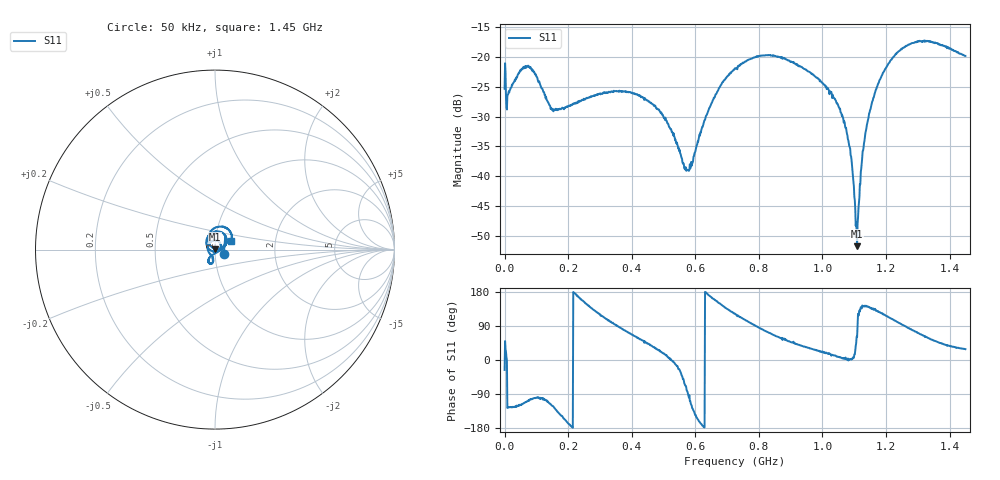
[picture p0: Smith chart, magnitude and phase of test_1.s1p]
! Created with skrf 1.11.0 (http://scikit-rf.org).
# Hz S RI R 50.0
!freq ReS11 ImS11
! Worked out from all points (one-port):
!   1001 points, 50 kHz to 1.45 GHz, reference 50 ohm
!   lowest |S11| = -51.7 dB at 1.109 GHz (marker M1), VSWR 1.01, Z = 50.1 + j0.227 ohm
!   |S11| at or under -10 dB: start of sweep to end of sweep
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50000  0.0486 -0.0239
1.16496e7  -0.0284 -0.0401
4.789835e7  -0.0369 -0.0657
7.54474e7  -0.023 -0.0795
1.46495e8  -0.0178 -0.0328
1.812938e8  -0.0318 -0.02
3.625375e8  0.00411 0.0515
4.683838e8  0.0329 0.0221
5.437812e8  0.0176 -0.00496
5.669804e8  0.00512 -0.0106
5.829299e8  -0.00392 -0.012
6.510776e8  -0.0397 0.0102
7.25025e8  -0.043 0.0681
8.076722e8  0.0146 0.1018
9.062688e8  0.0632 0.0649
1.032414e9  0.0469 0.0111
1.067213e9  0.0281 0.00162
1.087512e9  0.017 0.000821
1.103462e9  0.00481 0.00221
1.109262e9  0.00127 0.00227
1.112162e9  -0.00239 0.00381
1.123761e9  -0.00923 0.00886
1.132461e9  -0.0159 0.0119
1.16146e9  -0.0325 0.0321
1.209308e9  -0.0341 0.082
1.268756e9  0.0114 0.1249
1.336904e9  0.0748 0.1138
1.45e9  0.0896 0.0488
